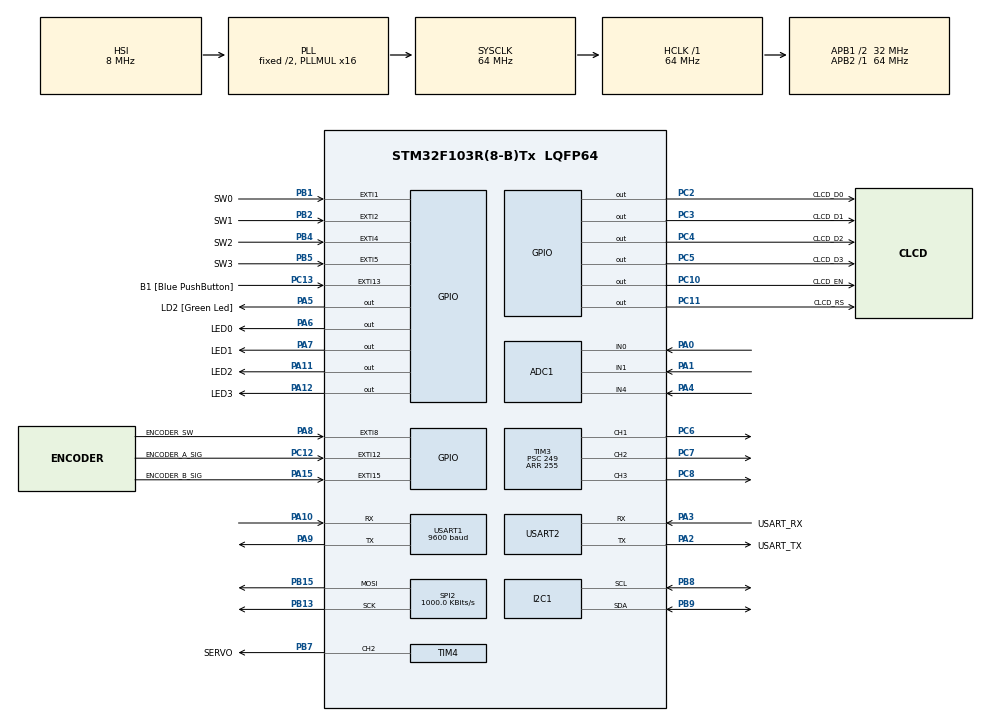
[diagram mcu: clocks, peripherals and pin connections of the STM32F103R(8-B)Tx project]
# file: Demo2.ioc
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ADC1.Channel-0\#ChannelRegularConversion=ADC_CHANNEL_0
ADC1.Channel-1\#ChannelRegularConversion=ADC_CHANNEL_1
ADC1.Channel-2\#ChannelRegularConversion=ADC_CHANNEL_4
ADC1.ContinuousConvMode=ENABLE
ADC1.NbrOfConversion=3
ADC1.NbrOfConversionFlag=1
ADC1.Rank-0\#ChannelRegularConversion=1
ADC1.Rank-1\#ChannelRegularConversion=2
ADC1.Rank-2\#ChannelRegularConversion=3
ADC1.SamplingTime-0\#ChannelRegularConversion=ADC_SAMPLETIME_239CYCLES_5
ADC1.SamplingTime-1\#ChannelRegularConversion=ADC_SAMPLETIME_239CYCLES_5
ADC1.SamplingTime-2\#ChannelRegularConversion=ADC_SAMPLETIME_239CYCLES_5
ADC1.master=1
Dma.ADC1.0.Direction=DMA_PERIPH_TO_MEMORY
Dma.ADC1.0.Instance=DMA1_Channel1
Dma.ADC1.0.MemDataAlignment=DMA_MDATAALIGN_HALFWORD
Dma.ADC1.0.MemInc=DMA_MINC_ENABLE
Dma.ADC1.0.Mode=DMA_CIRCULAR
Dma.ADC1.0.PeriphDataAlignment=DMA_PDATAALIGN_HALFWORD
Dma.ADC1.0.PeriphInc=DMA_PINC_DISABLE
Dma.ADC1.0.Priority=DMA_PRIORITY_LOW
Dma.Request0=ADC1
I2C1.I2C_Mode=I2C_Fast
Mcu.Family=STM32F1
Mcu.Name=STM32F103R(8-B)Tx
Mcu.Package=LQFP64
NVIC.DMA1_Channel1_IRQn=true\:0\:0\:false\:false\:true\:false\:true\:true
NVIC.EXTI15_10_IRQn=true\:0\:0\:false\:false\:true\:true\:true\:true
NVIC.EXTI1_IRQn=true\:0\:0\:false\:false\:true\:true\:true\:true
NVIC.EXTI2_IRQn=true\:0\:0\:false\:false\:true\:true\:true\:true
NVIC.EXTI4_IRQn=true\:0\:0\:false\:false\:true\:true\:true\:true
NVIC.EXTI9_5_IRQn=true\:0\:0\:false\:false\:true\:true\:true\:true
NVIC.PriorityGroup=NVIC_PRIORITYGROUP_4
NVIC.TIM2_IRQn=true\:0\:0\:false\:false\:true\:true\:true\:true
NVIC.USART1_IRQn=true\:0\:0\:false\:false\:true\:true\:true\:true
PA0-WKUP.Signal=ADCx_IN0
PA1.Signal=ADCx_IN1
PA10.Mode=Asynchronous
PA10.Signal=USART1_RX
PA11.GPIO_Label=LED2
PA11.Signal=GPIO_Output
PA12.GPIO_Label=LED3
PA12.Signal=GPIO_Output
PA13.GPIO_Label=TMS
PA13.Mode=Serial_Wire
PA13.Signal=SYS_JTMS-SWDIO
PA14.GPIO_Label=TCK
PA14.Mode=Serial_Wire
PA14.Signal=SYS_JTCK-SWCLK
PA15.GPIO_Label=ENCODER_B_SIG
PA15.Signal=GPXTI15
PA2.GPIO_Label=USART_TX
PA2.GPIO_Mode=GPIO_MODE_AF_PP
PA2.GPIO_PuPd=GPIO_NOPULL
PA2.GPIO_Speed=GPIO_SPEED_FREQ_LOW
PA2.Mode=Asynchronous
PA2.Signal=USART2_TX
PA3.GPIO_Label=USART_RX
PA3.GPIO_Mode=GPIO_MODE_AF_PP
PA3.GPIO_PuPd=GPIO_NOPULL
PA3.GPIO_Speed=GPIO_SPEED_FREQ_LOW
PA3.Mode=Asynchronous
PA3.Signal=USART2_RX
PA4.Signal=ADCx_IN4
PA5.GPIO_Label=LD2 [Green Led]
PA5.GPIO_ModeDefaultOutputPP=GPIO_MODE_OUTPUT_PP
PA5.GPIO_PuPd=GPIO_NOPULL
PA5.GPIO_Speed=GPIO_SPEED_FREQ_LOW
PA5.Signal=GPIO_Output
PA6.GPIO_Label=LED0
PA6.Signal=GPIO_Output
PA7.GPIO_Label=LED1
PA7.Signal=GPIO_Output
PA8.GPIO_Label=ENCODER_SW
PA8.GPIO_ModeDefaultEXTI=GPIO_MODE_IT_FALLING
PA8.Signal=GPXTI8
PA9.Mode=Asynchronous
PA9.Signal=USART1_TX
PB1.GPIO_Label=SW0
PB1.GPIO_ModeDefaultEXTI=GPIO_MODE_IT_RISING_FALLING
PB1.Signal=GPXTI1
PB13.Mode=TX_Only_Simplex_Unidirect_Master
PB13.Signal=SPI2_SCK
PB15.Mode=TX_Only_Simplex_Unidirect_Master
PB15.Signal=SPI2_MOSI
PB2.GPIO_Label=SW1
PB2.GPIO_ModeDefaultEXTI=GPIO_MODE_IT_RISING_FALLING
PB2.Signal=GPXTI2
PB4.GPIO_Label=SW2
PB4.GPIO_ModeDefaultEXTI=GPIO_MODE_IT_RISING_FALLING
PB4.Signal=GPXTI4
PB5.GPIO_Label=SW3
PB5.GPIO_ModeDefaultEXTI=GPIO_MODE_IT_RISING_FALLING
PB5.Signal=GPXTI5
PB7.GPIO_Label=SERVO
PB7.Signal=S_TIM4_CH2
PB8.Mode=I2C
PB8.Signal=I2C1_SCL
PB9.Mode=I2C
PB9.Signal=I2C1_SDA
PC10.GPIO_Label=CLCD_EN
PC10.Signal=GPIO_Output
PC11.GPIO_Label=CLCD_RS
PC11.Signal=GPIO_Output
PC12.GPIO_Label=ENCODER_A_SIG
PC12.Signal=GPXTI12
PC13-TAMPER-RTC.GPIO_Label=B1 [Blue PushButton]
PC13-TAMPER-RTC.GPIO_PuPd=GPIO_NOPULL
PC13-TAMPER-RTC.Signal=GPXTI13
PC2.GPIO_Label=CLCD_D0
PC2.Signal=GPIO_Output
PC3.GPIO_Label=CLCD_D1
PC3.Signal=GPIO_Output
PC4.GPIO_Label=CLCD_D2
PC4.Signal=GPIO_Output
PC5.GPIO_Label=CLCD_D3
PC5.Signal=GPIO_Output
PC6.Signal=S_TIM3_CH1
PC7.Signal=S_TIM3_CH2
PC8.Signal=S_TIM3_CH3
ProjectManager.HeapSize=0x200
ProjectManager.StackSize=0x400
ProjectManager.TargetToolchain=STM32CubeIDE
RCC.ADCPresc=RCC_ADCPCLK2_DIV8
RCC.AHBFreq_Value=64000000
RCC.APB1CLKDivider=RCC_HCLK_DIV2
RCC.APB1Freq_Value=32000000
RCC.APB1TimFreq_Value=64000000
RCC.APB2Freq_Value=64000000
RCC.APB2TimFreq_Value=64000000
RCC.HCLKFreq_Value=64000000
RCC.PLLMUL=RCC_PLL_MUL16
RCC.RTCClockSelection=RCC_RTCCLKSOURCE_LSE
RCC.SYSCLKFreq_VALUE=64000000
RCC.SYSCLKSource=RCC_SYSCLKSOURCE_PLLCLK
RCC.USBFreq_Value=64000000
SH.ADCx_IN0.0=ADC1_IN0,IN0
SH.ADCx_IN1.0=ADC1_IN1,IN1
SH.ADCx_IN4.0=ADC1_IN4,IN4
SH.S_TIM3_CH1.0=TIM3_CH1,PWM Generation1 CH1
SH.S_TIM3_CH2.0=TIM3_CH2,PWM Generation2 CH2
SH.S_TIM3_CH3.0=TIM3_CH3,PWM Generation3 CH3
SH.S_TIM4_CH2.0=TIM4_CH2,PWM Generation2 CH2
SPI2.BaudRatePrescaler=SPI_BAUDRATEPRESCALER_32
SPI2.CLKPhase=SPI_PHASE_2EDGE
SPI2.CalculateBaudRate=1000.0 KBits/s
SPI2.Direction=SPI_DIRECTION_2LINES
SPI2.Mode=SPI_MODE_MASTER
SPI2.VirtualType=VM_MASTER
TIM2.Period=49999
TIM2.Prescaler=63
TIM3.Channel-PWM\ Generation1\ CH1=TIM_CHANNEL_1
TIM3.Channel-PWM\ Generation2\ CH2=TIM_CHANNEL_2
TIM3.Channel-PWM\ Generation3\ CH3=TIM_CHANNEL_3
TIM3.Period=255
TIM3.Prescaler=249
TIM4.Channel-PWM\ Generation2\ CH2=TIM_CHANNEL_2
TIM4.OCPolarity_2=TIM_OCPOLARITY_LOW
TIM4.Period=19999
TIM4.Prescaler=63
TIM4.Pulse-PWM\ Generation2\ CH2=1500
USART1.BaudRate=9600
USART1.VirtualMode=VM_ASYNC
USART2.VirtualMode=VM_ASYNC
VP_TIM2_VS_ClockSourceINT.Mode=Internal
VP_TIM3_VS_ClockSourceINT.Mode=Internal
VP_TIM4_VS_ClockSourceINT.Mode=Internal
board=NUCLEO-F103RB

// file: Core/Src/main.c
/* USER CODE BEGIN Header */
/**
 ******************************************************************************
 * @file           : main.c
 * @brief          : Main program body
 ******************************************************************************
 * @attention
 *
 * Copyright (c) 2024 STMicroelectronics.
 * All rights reserved.
 *
 * This software is licensed under terms that can be found in the LICENSE file
 * in the root directory of this software component.
 * If no LICENSE file comes with this software, it is provided AS-IS.
 *
 ******************************************************************************
 */
/* USER CODE END Header */
#include "main.h"

/* USER CODE BEGIN Includes */
#include "hj_adc.h"
#include "hj_clcd.h"
#include "hj_communication.h"
#include "hj_i2c.h"
#include "hj_tim.h"
/* USER CODE END Includes */

ADC_HandleTypeDef hadc1;
DMA_HandleTypeDef hdma_adc1;

I2C_HandleTypeDef hi2c1;

SPI_HandleTypeDef hspi2;

TIM_HandleTypeDef htim2;
TIM_HandleTypeDef htim3;
TIM_HandleTypeDef htim4;

UART_HandleTypeDef huart1;
UART_HandleTypeDef huart2;

/* USER CODE BEGIN PV */

volatile int gEncoderValue = 0;
volatile uint8_t gTim2Flag = 0;

/* USER CODE END PV */

void SystemClock_Config(void);
static void MX_GPIO_Init(void);
static void MX_DMA_Init(void);
static void MX_USART2_UART_Init(void);
static void MX_ADC1_Init(void);
static void MX_I2C1_Init(void);
static void MX_SPI2_Init(void);
static void MX_TIM3_Init(void);
static void MX_TIM4_Init(void);
static void MX_USART1_UART_Init(void);
static void MX_TIM2_Init(void);

int main(void)
{

	/* MCU Configuration--------------------------------------------------------*/

	/* Reset of all peripherals, Initializes the Flash interface and the Systick. */
	HAL_Init();

	/* Configure the system clock */
	SystemClock_Config();

	/* Initialize all configured peripherals */
	MX_GPIO_Init();
	MX_DMA_Init();
	MX_USART2_UART_Init();
	MX_ADC1_Init();
	MX_I2C1_Init();
	MX_SPI2_Init();
	MX_TIM3_Init();
	MX_TIM4_Init();
	MX_USART1_UART_Init();
	MX_TIM2_Init();
	/* USER CODE BEGIN 2 */

	ADC_Start(&hadc1);
	I2C_Start(&hi2c1);

	Servo_Start(&htim3);
	RGB_Start(&htim4);

	CLCD_Start();

	HM10_Initialize(&huart1);

	HAL_Delay(100);

	/* USER CODE END 2 */

	/* Infinite loop */
	/* USER CODE BEGIN WHILE */
	float hdc_temp = 0.0;
	uint8_t hdc_hum = 0;
	int led_value = 0, switch_value = 0;
	int tx_index = 0;

	while (1)
	{
		// Gather sensor values
		hdc1080_measure(&hi2c1, &hdc_temp, &hdc_hum);

		led_value = (HAL_GPIO_ReadPin(LED0_GPIO_Port, LED0_Pin) << 24) |
				(HAL_GPIO_ReadPin(LED1_GPIO_Port, LED1_Pin) << 16) |
				(HAL_GPIO_ReadPin(LED2_GPIO_Port, LED2_Pin) << 8) |
				(HAL_GPIO_ReadPin(LED3_GPIO_Port, LED3_Pin));

		switch_value = ((!HAL_GPIO_ReadPin(SW0_GPIO_Port, SW0_Pin)) << 24) |
				((!HAL_GPIO_ReadPin(SW1_GPIO_Port, SW1_Pin)) << 16) |
				((!HAL_GPIO_ReadPin(SW2_GPIO_Port, SW2_Pin)) << 8) |
				((!HAL_GPIO_ReadPin(SW3_GPIO_Port, SW3_Pin)));

		if (gTim2Flag == 1)
		{
			gTim2Flag = 0;

			uint8_t txBuffer[10] = {0};
			int index = 0;

			switch (tx_index)
			{
			case 0:
				tx_index++;
				uint16_t val = adc_values[0];

				txBuffer[index++] = STX;
				txBuffer[index++] = COMMUNICATION_CMD_R;
				txBuffer[index++] = COMMUNICATION_DEVICE_VAR;
				txBuffer[index++] = 2;
				txBuffer[index++] = val;
				txBuffer[index++] = val >> 8;
				txBuffer[index++] = ETX;

				HAL_UART_Transmit(&huart1, txBuffer, index, 50);
				break;
			case 1:
				tx_index++;
				uint16_t cds_val = adc_values[1];

				txBuffer[index++] = STX;
				txBuffer[index++] = COMMUNICATION_CMD_R;
				txBuffer[index++] = COMMUNICATION_DEVICE_CDS;
				txBuffer[index++] = 2;
				txBuffer[index++] = cds_val;
				txBuffer[index++] = cds_val >> 8;
				txBuffer[index++] = ETX;

				HAL_UART_Transmit (&huart1, txBuffer, index, 50);
				break;
			case 2:
				tx_index++;
				float tc_temp = (float) (((adc_values[2] * 3.3 / 4096 * 1000) - 500) / 10);
				uint32_t temp = *(uint32_t*) &tc_temp;

				txBuffer[index++] = STX;
				txBuffer[index++] = COMMUNICATION_CMD_R;
				txBuffer[index++] = COMMUNICATION_DEVICE_TC1047;
				txBuffer[index++] = 4;
				txBuffer[index++] = temp;
				txBuffer[index++] = temp >> 8;
				txBuffer[index++] = temp >> 16;
				txBuffer[index++] = temp >> 24;
				txBuffer[index++] = ETX;

				HAL_UART_Transmit (&huart1, txBuffer, index, 50);
				break;
			case 3:
				tx_index++;
				int encoder_temp = gEncoderValue;

				txBuffer[index++] = STX;
				txBuffer[index++] = COMMUNICATION_CMD_R;
				txBuffer[index++] = COMMUNICATION_DEVICE_ENCODER;
				txBuffer[index++] = 4;
				txBuffer[index++] = encoder_temp;
				txBuffer[index++] = encoder_temp >> 8;
				txBuffer[index++] = encoder_temp >> 16;
				txBuffer[index++] = encoder_temp >> 24;
				txBuffer[index++] = ETX;

				HAL_UART_Transmit (&huart1, txBuffer, index, 50);
				break;

			case 4: // HDC1080 data packet
				tx_index++;
				uint32_t _hdc_temp = *(uint32_t*) &hdc_temp;
				uint8_t _hdc_humi = hdc_hum;

				txBuffer[index++] = STX;
				txBuffer[index++] = COMMUNICATION_CMD_R;
				txBuffer[index++] = COMMUNICATION_DEVICE_HDC1080;
				txBuffer[index++] = 5;
				txBuffer[index++] = _hdc_temp;
				txBuffer[index++] = _hdc_temp >> 8;
				txBuffer[index++] = _hdc_temp >> 16;
				txBuffer[index++] = _hdc_temp >> 24;
				txBuffer[index++] = _hdc_humi;
				txBuffer[index++] = ETX;

				HAL_UART_Transmit (&huart1, txBuffer, index, 50);
				//printf ("Sequence%d - HDC1080: %.2f, %d\n", send_idx, *(float *)&hdc_temp, hdc_humi);
				break;

			case 5: // LED data packet
				tx_index++;
				int led_temp = led_value;

				txBuffer[index++] = STX;
				txBuffer[index++] = COMMUNICATION_CMD_R;
				txBuffer[index++] = COMMUNICATION_DEVICE_LED;
				txBuffer[index++] = 4;
				txBuffer[index++] = led_temp;
				txBuffer[index++] = led_temp >> 8;
				txBuffer[index++] = led_temp >> 16;
				txBuffer[index++] = led_temp >> 24;
				txBuffer[index++] = ETX;

				HAL_UART_Transmit (&huart1, txBuffer, index, 50);
				break;

			case 6: // RGB LED data packet
				tx_index++;

				txBuffer[index++] = STX;
				txBuffer[index++] = COMMUNICATION_CMD_R;
				txBuffer[index++] = COMMUNICATION_DEVICE_RGB;
				txBuffer[index++] = 4;
				txBuffer[index++] = gRGBPulse[0];
				txBuffer[index++] = gRGBPulse[1];
				txBuffer[index++] = gRGBPulse[2];
				txBuffer[index++] = ETX;

				HAL_UART_Transmit (&huart1, txBuffer, index, 50);
				break;

			case 7:
				tx_index++;
				int sw_temp = switch_value;

				txBuffer[index++] = STX;
				txBuffer[index++] = COMMUNICATION_CMD_R;
				txBuffer[index++] = COMMUNICATION_DEVICE_TSWITCH;
				txBuffer[index++] = 4;
				txBuffer[index++] = sw_temp;
				txBuffer[index++] = sw_temp >> 8;
				txBuffer[index++] = sw_temp >> 16;
				txBuffer[index++] = sw_temp >> 24;
				txBuffer[index++] = ETX;

				HAL_UART_Transmit (&huart1, txBuffer, index, 50);
				tx_index = 0;
				break;

			default:
				Error_Handler ();
				break;

			}
		}
		/* USER CODE END WHILE */
	}
}

void SystemClock_Config(void)
{
	RCC_OscInitTypeDef RCC_OscInitStruct = {0};
	RCC_ClkInitTypeDef RCC_ClkInitStruct = {0};
	RCC_PeriphCLKInitTypeDef PeriphClkInit = {0};

	/** Initializes the RCC Oscillators according to the specified parameters
	 * in the RCC_OscInitTypeDef structure.
	 */
	RCC_OscInitStruct.OscillatorType = RCC_OSCILLATORTYPE_HSI;
	RCC_OscInitStruct.HSIState = RCC_HSI_ON;
	RCC_OscInitStruct.HSICalibrationValue = RCC_HSICALIBRATION_DEFAULT;
	RCC_OscInitStruct.PLL.PLLState = RCC_PLL_ON;
	RCC_OscInitStruct.PLL.PLLSource = RCC_PLLSOURCE_HSI_DIV2;
	RCC_OscInitStruct.PLL.PLLMUL = RCC_PLL_MUL16;
	if (HAL_RCC_OscConfig(&RCC_OscInitStruct) != HAL_OK)
	{
		Error_Handler();
	}

	/** Initializes the CPU, AHB and APB buses clocks
	 */
	RCC_ClkInitStruct.ClockType = RCC_CLOCKTYPE_HCLK|RCC_CLOCKTYPE_SYSCLK
			|RCC_CLOCKTYPE_PCLK1|RCC_CLOCKTYPE_PCLK2;
	RCC_ClkInitStruct.SYSCLKSource = RCC_SYSCLKSOURCE_PLLCLK;
	RCC_ClkInitStruct.AHBCLKDivider = RCC_SYSCLK_DIV1;
	RCC_ClkInitStruct.APB1CLKDivider = RCC_HCLK_DIV2;
	RCC_ClkInitStruct.APB2CLKDivider = RCC_HCLK_DIV1;

	if (HAL_RCC_ClockConfig(&RCC_ClkInitStruct, FLASH_LATENCY_2) != HAL_OK)
	{
		Error_Handler();
	}
	PeriphClkInit.PeriphClockSelection = RCC_PERIPHCLK_ADC;
	PeriphClkInit.AdcClockSelection = RCC_ADCPCLK2_DIV8;
	if (HAL_RCCEx_PeriphCLKConfig(&PeriphClkInit) != HAL_OK)
	{
		Error_Handler();
	}
}

static void MX_ADC1_Init(void)
{

	ADC_ChannelConfTypeDef sConfig = {0};

	/** Common config
	 */
	hadc1.Instance = ADC1;
	hadc1.Init.ScanConvMode = ADC_SCAN_ENABLE;
	hadc1.Init.ContinuousConvMode = ENABLE;
	hadc1.Init.DiscontinuousConvMode = DISABLE;
	hadc1.Init.ExternalTrigConv = ADC_SOFTWARE_START;
	hadc1.Init.DataAlign = ADC_DATAALIGN_RIGHT;
	hadc1.Init.NbrOfConversion = 3;
	if (HAL_ADC_Init(&hadc1) != HAL_OK)
	{
		Error_Handler();
	}

	/** Configure Regular Channel
	 */
	sConfig.Channel = ADC_CHANNEL_0;
	sConfig.Rank = ADC_REGULAR_RANK_1;
	sConfig.SamplingTime = ADC_SAMPLETIME_239CYCLES_5;
	if (HAL_ADC_ConfigChannel(&hadc1, &sConfig) != HAL_OK)
	{
		Error_Handler();
	}

	/** Configure Regular Channel
	 */
	sConfig.Channel = ADC_CHANNEL_1;
	sConfig.Rank = ADC_REGULAR_RANK_2;
	if (HAL_ADC_ConfigChannel(&hadc1, &sConfig) != HAL_OK)
	{
		Error_Handler();
	}

	/** Configure Regular Channel
	 */
	sConfig.Channel = ADC_CHANNEL_4;
	sConfig.Rank = ADC_REGULAR_RANK_3;
	if (HAL_ADC_ConfigChannel(&hadc1, &sConfig) != HAL_OK)
	{
		Error_Handler();
	}

}

static void MX_I2C1_Init(void)
{

	hi2c1.Instance = I2C1;
	hi2c1.Init.ClockSpeed = 400000;
	hi2c1.Init.DutyCycle = I2C_DUTYCYCLE_2;
	hi2c1.Init.OwnAddress1 = 0;
	hi2c1.Init.AddressingMode = I2C_ADDRESSINGMODE_7BIT;
	hi2c1.Init.DualAddressMode = I2C_DUALADDRESS_DISABLE;
	hi2c1.Init.OwnAddress2 = 0;
	hi2c1.Init.GeneralCallMode = I2C_GENERALCALL_DISABLE;
	hi2c1.Init.NoStretchMode = I2C_NOSTRETCH_DISABLE;
	if (HAL_I2C_Init(&hi2c1) != HAL_OK)
	{
		Error_Handler();
	}

}

static void MX_SPI2_Init(void)
{

	/* SPI2 parameter configuration*/
	hspi2.Instance = SPI2;
	hspi2.Init.Mode = SPI_MODE_MASTER;
	hspi2.Init.Direction = SPI_DIRECTION_2LINES;
	hspi2.Init.DataSize = SPI_DATASIZE_8BIT;
	hspi2.Init.CLKPolarity = SPI_POLARITY_LOW;
	hspi2.Init.CLKPhase = SPI_PHASE_2EDGE;
	hspi2.Init.NSS = SPI_NSS_SOFT;
	hspi2.Init.BaudRatePrescaler = SPI_BAUDRATEPRESCALER_32;
	hspi2.Init.FirstBit = SPI_FIRSTBIT_MSB;
	hspi2.Init.TIMode = SPI_TIMODE_DISABLE;
	hspi2.Init.CRCCalculation = SPI_CRCCALCULATION_DISABLE;
	hspi2.Init.CRCPolynomial = 10;
	if (HAL_SPI_Init(&hspi2) != HAL_OK)
	{
		Error_Handler();
	}

}

static void MX_TIM2_Init(void)
{

	TIM_ClockConfigTypeDef sClockSourceConfig = {0};
	TIM_MasterConfigTypeDef sMasterConfig = {0};

	htim2.Instance = TIM2;
	htim2.Init.Prescaler = 63;
	htim2.Init.CounterMode = TIM_COUNTERMODE_UP;
	htim2.Init.Period = 49999;
	htim2.Init.ClockDivision = TIM_CLOCKDIVISION_DIV1;
	htim2.Init.AutoReloadPreload = TIM_AUTORELOAD_PRELOAD_DISABLE;
	if (HAL_TIM_Base_Init(&htim2) != HAL_OK)
	{
		Error_Handler();
	}
	sClockSourceConfig.ClockSource = TIM_CLOCKSOURCE_INTERNAL;
	if (HAL_TIM_ConfigClockSource(&htim2, &sClockSourceConfig) != HAL_OK)
	{
		Error_Handler();
	}
	sMasterConfig.MasterOutputTrigger = TIM_TRGO_RESET;
	sMasterConfig.MasterSlaveMode = TIM_MASTERSLAVEMODE_DISABLE;
	if (HAL_TIMEx_MasterConfigSynchronization(&htim2, &sMasterConfig) != HAL_OK)
	{
		Error_Handler();
	}

}

static void MX_TIM3_Init(void)
{

	TIM_ClockConfigTypeDef sClockSourceConfig = {0};
	TIM_MasterConfigTypeDef sMasterConfig = {0};
	TIM_OC_InitTypeDef sConfigOC = {0};

	htim3.Instance = TIM3;
	htim3.Init.Prescaler = 249;
	htim3.Init.CounterMode = TIM_COUNTERMODE_UP;
	htim3.Init.Period = 255;
	htim3.Init.ClockDivision = TIM_CLOCKDIVISION_DIV1;
	htim3.Init.AutoReloadPreload = TIM_AUTORELOAD_PRELOAD_DISABLE;
	if (HAL_TIM_Base_Init(&htim3) != HAL_OK)
	{
		Error_Handler();
	}
	sClockSourceConfig.ClockSource = TIM_CLOCKSOURCE_INTERNAL;
	if (HAL_TIM_ConfigClockSource(&htim3, &sClockSourceConfig) != HAL_OK)
	{
		Error_Handler();
	}
	if (HAL_TIM_PWM_Init(&htim3) != HAL_OK)
	{
		Error_Handler();
	}
	sMasterConfig.MasterOutputTrigger = TIM_TRGO_RESET;
	sMasterConfig.MasterSlaveMode = TIM_MASTERSLAVEMODE_DISABLE;
	if (HAL_TIMEx_MasterConfigSynchronization(&htim3, &sMasterConfig) != HAL_OK)
	{
		Error_Handler();
	}
	sConfigOC.OCMode = TIM_OCMODE_PWM1;
	sConfigOC.Pulse = 0;
	sConfigOC.OCPolarity = TIM_OCPOLARITY_HIGH;
	sConfigOC.OCFastMode = TIM_OCFAST_DISABLE;
	if (HAL_TIM_PWM_ConfigChannel(&htim3, &sConfigOC, TIM_CHANNEL_1) != HAL_OK)
	{
		Error_Handler();
	}
	if (HAL_TIM_PWM_ConfigChannel(&htim3, &sConfigOC, TIM_CHANNEL_2) != HAL_OK)
	{
		Error_Handler();
	}
	if (HAL_TIM_PWM_ConfigChannel(&htim3, &sConfigOC, TIM_CHANNEL_3) != HAL_OK)
	{
		Error_Handler();
	}
	HAL_TIM_MspPostInit(&htim3);

}

static void MX_TIM4_Init(void)
{

	TIM_ClockConfigTypeDef sClockSourceConfig = {0};
	TIM_MasterConfigTypeDef sMasterConfig = {0};
	TIM_OC_InitTypeDef sConfigOC = {0};

	htim4.Instance = TIM4;
	htim4.Init.Prescaler = 63;
	htim4.Init.CounterMode = TIM_COUNTERMODE_UP;
	htim4.Init.Period = 19999;
	htim4.Init.ClockDivision = TIM_CLOCKDIVISION_DIV1;
	htim4.Init.AutoReloadPreload = TIM_AUTORELOAD_PRELOAD_DISABLE;
	if (HAL_TIM_Base_Init(&htim4) != HAL_OK)
	{
		Error_Handler();
	}
	sClockSourceConfig.ClockSource = TIM_CLOCKSOURCE_INTERNAL;
	if (HAL_TIM_ConfigClockSource(&htim4, &sClockSourceConfig) != HAL_OK)
	{
		Error_Handler();
	}
	if (HAL_TIM_PWM_Init(&htim4) != HAL_OK)
	{
		Error_Handler();
	}
	sMasterConfig.MasterOutputTrigger = TIM_TRGO_RESET;
	sMasterConfig.MasterSlaveMode = TIM_MASTERSLAVEMODE_DISABLE;
	if (HAL_TIMEx_MasterConfigSynchronization(&htim4, &sMasterConfig) != HAL_OK)
	{
		Error_Handler();
	}
	sConfigOC.OCMode = TIM_OCMODE_PWM1;
	sConfigOC.Pulse = 1500;
	sConfigOC.OCPolarity = TIM_OCPOLARITY_LOW;
	sConfigOC.OCFastMode = TIM_OCFAST_DISABLE;
	if (HAL_TIM_PWM_ConfigChannel(&htim4, &sConfigOC, TIM_CHANNEL_2) != HAL_OK)
	{
		Error_Handler();
	}
	HAL_TIM_MspPostInit(&htim4);

}

static void MX_USART1_UART_Init(void)
{

	huart1.Instance = USART1;
	huart1.Init.BaudRate = 9600;
	huart1.Init.WordLength = UART_WORDLENGTH_8B;
	huart1.Init.StopBits = UART_STOPBITS_1;
	huart1.Init.Parity = UART_PARITY_NONE;
	huart1.Init.Mode = UART_MODE_TX_RX;
	huart1.Init.HwFlowCtl = UART_HWCONTROL_NONE;
	huart1.Init.OverSampling = UART_OVERSAMPLING_16;
	if (HAL_UART_Init(&huart1) != HAL_OK)
	{
		Error_Handler();
	}

}

static void MX_USART2_UART_Init(void)
{

	huart2.Instance = USART2;
	huart2.Init.BaudRate = 115200;
	huart2.Init.WordLength = UART_WORDLENGTH_8B;
	huart2.Init.StopBits = UART_STOPBITS_1;
	huart2.Init.Parity = UART_PARITY_NONE;
	huart2.Init.Mode = UART_MODE_TX_RX;
	huart2.Init.HwFlowCtl = UART_HWCONTROL_NONE;
	huart2.Init.OverSampling = UART_OVERSAMPLING_16;
	if (HAL_UART_Init(&huart2) != HAL_OK)
	{
		Error_Handler();
	}

}

static void MX_DMA_Init(void)
{

	/* DMA controller clock enable */
	__HAL_RCC_DMA1_CLK_ENABLE();

	/* DMA interrupt init */
	/* DMA1_Channel1_IRQn interrupt configuration */
	HAL_NVIC_SetPriority(DMA1_Channel1_IRQn, 0, 0);
	HAL_NVIC_EnableIRQ(DMA1_Channel1_IRQn);

}

static void MX_GPIO_Init(void)
{
	GPIO_InitTypeDef GPIO_InitStruct = {0};

	/* GPIO Ports Clock Enable */
	__HAL_RCC_GPIOC_CLK_ENABLE();
	__HAL_RCC_GPIOA_CLK_ENABLE();
	__HAL_RCC_GPIOB_CLK_ENABLE();

	/*Configure GPIO pin Output Level */
	HAL_GPIO_WritePin(GPIOC, CLCD_D0_Pin|CLCD_D1_Pin|CLCD_D2_Pin|CLCD_D3_Pin
			|CLCD_EN_Pin|CLCD_RS_Pin, GPIO_PIN_RESET);

	/*Configure GPIO pin Output Level */
	HAL_GPIO_WritePin(GPIOA, LD2_Pin|LED0_Pin|LED1_Pin|LED2_Pin
			|LED3_Pin, GPIO_PIN_RESET);

	/*Configure GPIO pins : B1_Pin ENCODER_A_SIG_Pin */
	GPIO_InitStruct.Pin = B1_Pin|ENCODER_A_SIG_Pin;
	GPIO_InitStruct.Mode = GPIO_MODE_IT_RISING;
	GPIO_InitStruct.Pull = GPIO_NOPULL;
	HAL_GPIO_Init(GPIOC, &GPIO_InitStruct);

	/*Configure GPIO pins : CLCD_D0_Pin CLCD_D1_Pin CLCD_D2_Pin CLCD_D3_Pin
                           CLCD_EN_Pin CLCD_RS_Pin */
	GPIO_InitStruct.Pin = CLCD_D0_Pin|CLCD_D1_Pin|CLCD_D2_Pin|CLCD_D3_Pin
			|CLCD_EN_Pin|CLCD_RS_Pin;
	GPIO_InitStruct.Mode = GPIO_MODE_OUTPUT_PP;
	GPIO_InitStruct.Pull = GPIO_NOPULL;
	GPIO_InitStruct.Speed = GPIO_SPEED_FREQ_LOW;
	HAL_GPIO_Init(GPIOC, &GPIO_InitStruct);

	/*Configure GPIO pins : LD2_Pin LED0_Pin LED1_Pin LED2_Pin
                           LED3_Pin */
	GPIO_InitStruct.Pin = LD2_Pin|LED0_Pin|LED1_Pin|LED2_Pin
			|LED3_Pin;
	GPIO_InitStruct.Mode = GPIO_MODE_OUTPUT_PP;
	GPIO_InitStruct.Pull = GPIO_NOPULL;
	GPIO_InitStruct.Speed = GPIO_SPEED_FREQ_LOW;
	HAL_GPIO_Init(GPIOA, &GPIO_InitStruct);

	/*Configure GPIO pins : SW0_Pin SW1_Pin SW2_Pin SW3_Pin */
	GPIO_InitStruct.Pin = SW0_Pin|SW1_Pin|SW2_Pin|SW3_Pin;
	GPIO_InitStruct.Mode = GPIO_MODE_IT_RISING_FALLING;
	GPIO_InitStruct.Pull = GPIO_NOPULL;
	HAL_GPIO_Init(GPIOB, &GPIO_InitStruct);

	/*Configure GPIO pin : ENCODER_SW_Pin */
	GPIO_InitStruct.Pin = ENCODER_SW_Pin;
	GPIO_InitStruct.Mode = GPIO_MODE_IT_FALLING;
	GPIO_InitStruct.Pull = GPIO_NOPULL;
	HAL_GPIO_Init(ENCODER_SW_GPIO_Port, &GPIO_InitStruct);

	/*Configure GPIO pin : ENCODER_B_SIG_Pin */
	GPIO_InitStruct.Pin = ENCODER_B_SIG_Pin;
	GPIO_InitStruct.Mode = GPIO_MODE_IT_RISING;
	GPIO_InitStruct.Pull = GPIO_NOPULL;
	HAL_GPIO_Init(ENCODER_B_SIG_GPIO_Port, &GPIO_InitStruct);

	/* EXTI interrupt init*/
	HAL_NVIC_SetPriority(EXTI1_IRQn, 0, 0);
	HAL_NVIC_EnableIRQ(EXTI1_IRQn);

	HAL_NVIC_SetPriority(EXTI2_IRQn, 0, 0);
	HAL_NVIC_EnableIRQ(EXTI2_IRQn);

	HAL_NVIC_SetPriority(EXTI4_IRQn, 0, 0);
	HAL_NVIC_EnableIRQ(EXTI4_IRQn);

	HAL_NVIC_SetPriority(EXTI9_5_IRQn, 0, 0);
	HAL_NVIC_EnableIRQ(EXTI9_5_IRQn);

	HAL_NVIC_SetPriority(EXTI15_10_IRQn, 0, 0);
	HAL_NVIC_EnableIRQ(EXTI15_10_IRQn);

}

/* USER CODE BEGIN 4 */
void HAL_UART_RxCpltCallback(UART_HandleTypeDef *huart)
{
}

void HAL_GPIO_EXTI_Callback(uint16_t GPIO_Pin)
{
	switch (GPIO_Pin)
	{
	case GPIO_PIN_1:
		HAL_GPIO_TogglePin(LED0_GPIO_Port, LED0_Pin);
		break;
	case GPIO_PIN_2:
		HAL_GPIO_TogglePin(LED1_GPIO_Port, LED1_Pin);
		break;
	case GPIO_PIN_4:
		HAL_GPIO_TogglePin(LED2_GPIO_Port, LED2_Pin);
		break;
	case GPIO_PIN_5:
		HAL_GPIO_TogglePin(LED3_GPIO_Port, LED3_Pin);
		break;
	case GPIO_PIN_8:
		gEncoderValue = 0;
		break;
	case GPIO_PIN_12:
		gEncoderValue++;
		break;
	case GPIO_PIN_15:
		gEncoderValue--;
		break;
	default:
		break;
	}
}

void HAL_TIM_PeriodElapsedCallback(TIM_HandleTypeDef *htim)
{
	if (htim->Instance == TIM2)
		gTim2Flag = 1;
}

/* USER CODE END 4 */

void Error_Handler(void)
{
	__disable_irq();
	while (1)
	{
	}
}
